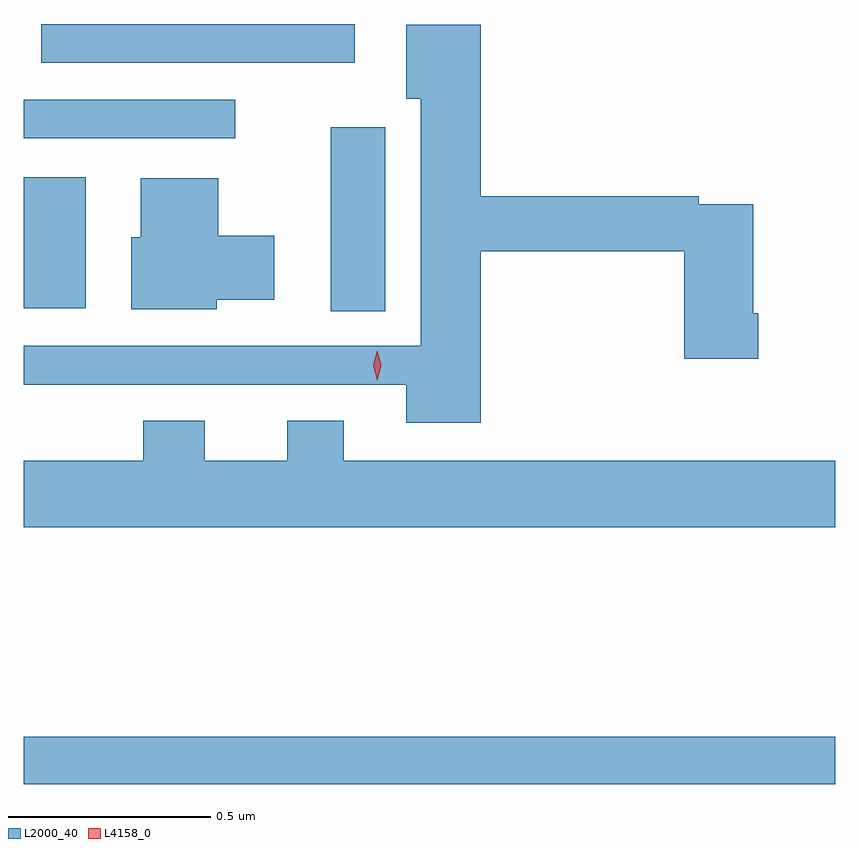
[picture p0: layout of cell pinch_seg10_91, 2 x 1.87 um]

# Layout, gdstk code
import gdstk
lib = gdstk.Library(unit=1e-6, precision=1e-09)
def R(c, l, rs):  # rectangles x0, y0, x1, y1
    for r in rs: c.add(gdstk.rectangle(r[:2], r[2:], *l))
def P(c, l, *ps):  # polygons
    for p in ps: c.add(gdstk.Polygon(p, *l))
L2000_40 = (2000, 40)
L4158_0 = (4158, 0)

pinch_seg10_91 = lib.new_cell('pinch_seg10_91')
R(pinch_seg10_91, L2000_40, [(731.803,1307.676,733.803,1307.792), (732.56,1308.841,732.694,1309.294), (731.803,1308.848,731.956,1309.171), (731.803,1309.266,732.325,1309.362), (731.847,1309.452,732.619,1309.548)])
P(pinch_seg10_91, L2000_40, [(732.929,1308.988),(733.43,1308.988),(733.43,1308.723),(733.613,1308.723),(733.613,1308.835),(733.6,1308.835),(733.6,1309.104),(733.466,1309.104),(733.466,1309.124),(732.929,1309.124),(732.929,1309.546),(732.746,1309.546),(732.746,1309.364),(732.782,1309.364),(732.782,1308.756),(731.803,1308.756),(731.803,1308.659),(732.014,1308.659),(732.014,1308.66),(732.746,1308.66),(732.746,1308.566),(732.929,1308.566)],
  [(732.279,1308.869),(732.421,1308.869),(732.421,1309.027),(732.283,1309.027),(732.283,1309.168),(732.092,1309.168),(732.092,1309.023),(732.068,1309.023),(732.068,1308.845),(732.279,1308.845)],
  [(733.803,1308.472),(732.592,1308.472),(732.592,1308.571),(732.452,1308.571),(732.452,1308.472),(732.25,1308.472),(732.25,1308.571),(732.098,1308.571),(732.098,1308.472),(731.803,1308.472),(731.803,1308.308),(733.803,1308.308)])
P(pinch_seg10_91, L4158_0, [(732.674,1308.671),(732.674,1308.671),(732.664,1308.707),(732.674,1308.743),(732.674,1308.743),(732.674,1308.743),(732.684,1308.707),(732.674,1308.671)])

lib.write_gds('pinch_seg10_91.gds')
